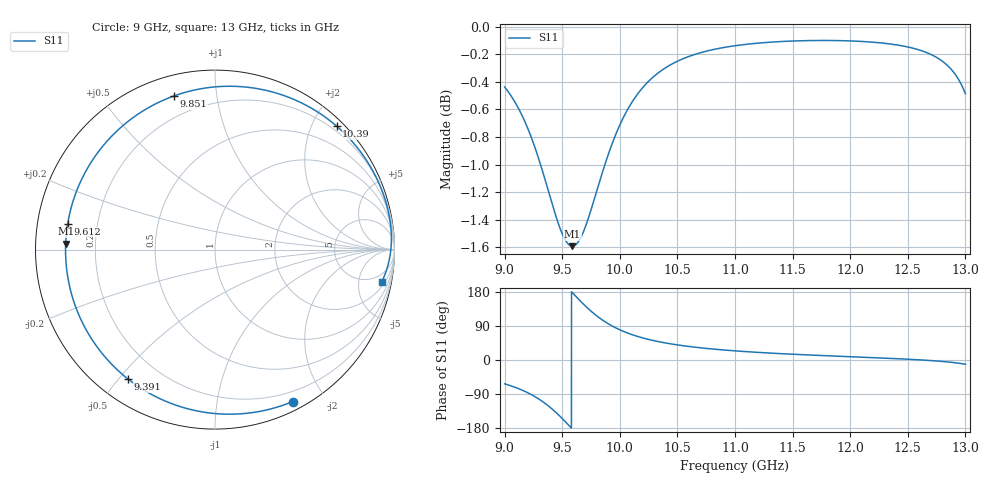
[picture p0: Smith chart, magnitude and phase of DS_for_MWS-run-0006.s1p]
! TOUCHSTONE file generated by CST DESIGN STUDIO
! Date and time: Tue Feb  4 17:27:15 2025
! Project name: C:\Work\MatlabApps\UnitCellOptimizationMatlab\CST\unitcell.cst
! Tree item: Tasks\Sweep1\SPara1\S-Parameters
! Header version: 2024
! Port assignment regex: !\s*Touchstone port\s*([0-9]+)\s*=\s*(CST MWS port|CST DES external port|CST DES block port)\s*(.+)\s* \(\"(.*)\"\)(\s*mode\s*([0-9]+))?.*
! Touchstone port assignment:
! Touchstone port 1 = CST DES external port 1 ("")
# GHz S MA R 50
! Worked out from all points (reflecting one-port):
!   4001 points, 9 GHz to 13 GHz, reference 50 ohm
!   lowest |S11| = -1.6 dB at 9.588 GHz (marker M1), VSWR 10.95, Z = 4.57 + j0.988 ohm
!   phase of S11 starts at -63 deg and turns -308 deg over the sweep
!   S11 on the Smith chart (normalised r, x): 9 GHz: 0.09, -1.63; 9.391 GHz: 0.09, -0.53; 9.612 GHz: 0.09, +0.09; 9.851 GHz: 0.10, +0.76; 10.39 GHz: 0.12, +2.39; 13 GHz: 2.73, -9.45
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9  0.9508 -62.9
9.116  0.9347 -75.0
9.236  0.9107 -92.0
9.318  0.8896 -107.2
9.391  0.8687 -123.9
9.444  0.8541 -137.9
9.5  0.8413 -154.4
9.545  0.8348 -168.5
9.588  0.8326 177.7
9.612  0.8333 170.0
9.668  0.8397 152.4
9.734  0.854 133.2
9.791  0.8694 118.5
9.851  0.886 105.1
9.919  0.9035 92.2
10  0.9212 79.7
10.084  0.9357 69.3
10.175  0.9477 60.3
10.275  0.9576 52.5
10.388  0.9656 45.4
10.5  0.9715 39.8
10.72  0.9789 31.5
11  0.9841 24.1
11.5  0.988 15.2
12  0.9881 8.7
12.5  0.9831 2.1
12.791  0.9721 -3.5
13  0.9456 -11.2
